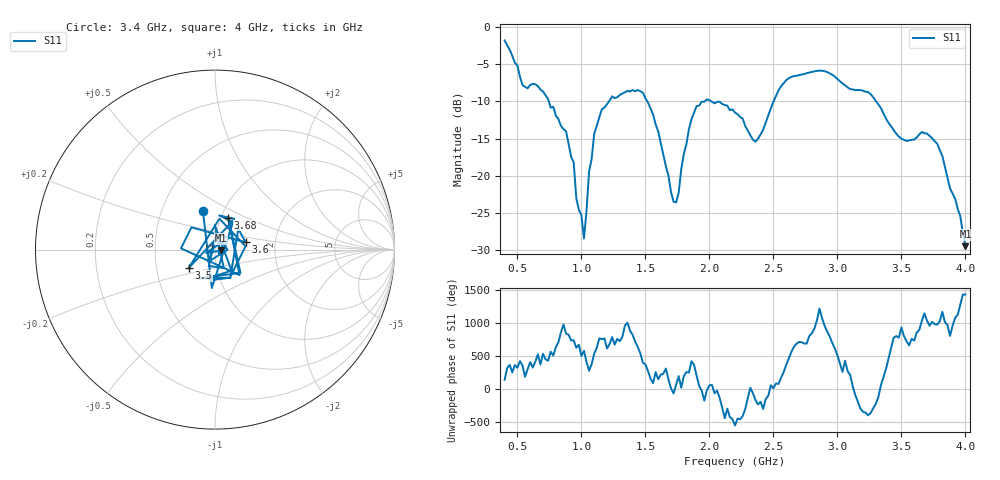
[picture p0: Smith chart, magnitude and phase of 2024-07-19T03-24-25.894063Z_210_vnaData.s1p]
!Created with skrf (http://scikit-rf.org).
# Hz S RI R 50.0
!freq ReS11 ImS11
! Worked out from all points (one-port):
!   181 points, 400 MHz to 4 GHz, reference 50 ohm
!   lowest |S11| = -29.5 dB at 4 GHz (marker M1), VSWR 1.07, Z = 53.4 - j0.426 ohm
!   |S11| at or under -10 dB: 745.3 MHz to 1.216 GHz (470.6 MHz wide, 48 % of centre); 2.016 GHz to 2.501 GHz (485.7 MHz wide, 21.5 % of centre); 3.302 GHz to end of sweep (the widest 3 of 4)
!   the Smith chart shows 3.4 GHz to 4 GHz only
!   S11 on the Smith chart (normalised r, x): 3.4 GHz: 0.80, +0.36; 3.5 GHz: 0.73, -0.15; 3.6 GHz: 1.40, +0.12; 3.68 GHz: 1.08, +0.40; 4 GHz: 1.07, -0.01
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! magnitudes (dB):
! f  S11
! 400 MHz  -1.8
! 540 MHz  -7.8
! 700 MHz  -8.7
! 860 MHz  -13.7
! 940 MHz  -18.2
! 960 MHz  -23.1
! 1.02 GHz  -28.5
! 1.06 GHz  -19.4
! 1.1 GHz  -14.3
! 1.3 GHz  -9.1
! 1.48 GHz  -8.8
! 1.6 GHz  -14.0
! 1.72 GHz  -23.5
! 1.76 GHz  -22.3
! 1.84 GHz  -13.7
! 1.9 GHz  -10.6
! 2.2 GHz  -11.5
! 2.36 GHz  -15.4
! 2.66 GHz  -6.6
! 3.1 GHz  -8.3
! 3.26 GHz  -9.0
! 3.4 GHz  -12.9
! 3.5 GHz  -15.0
! 3.56 GHz  -15.3
! 3.6 GHz  -15.1
! 3.68 GHz  -14.3
! 3.82 GHz  -17.3
! 4 GHz  -29.5
